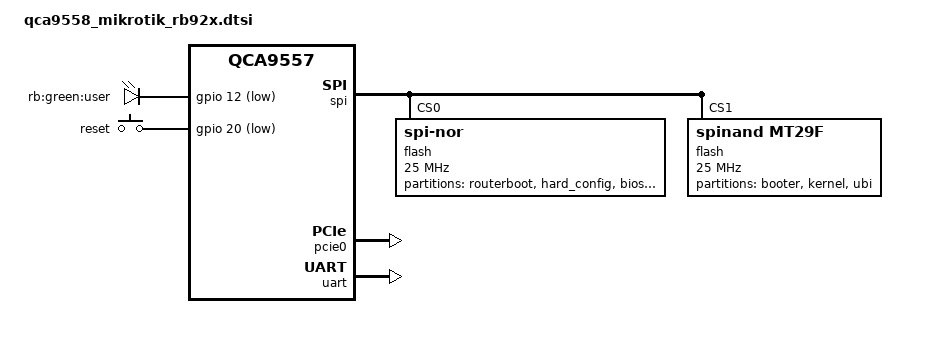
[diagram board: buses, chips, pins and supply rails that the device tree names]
// SPDX-License-Identifier: GPL-2.0-or-later OR MIT














/dts-v1/;

#include <dt-bindings/gpio/gpio.h>
#include <dt-bindings/input/input.h>

#include "qca9557.dtsi"

/ {
	aliases {
		led-boot = &user;
		led-failsafe = &user;
		led-running = &user;
		led-upgrade = &user;
	};

	chosen {
		bootargs = "console=ttyS0,115200n8";
	};

	leds: leds {
		compatible = "gpio-leds";

		user: user {
			label = "rb:green:user";
			gpios = <&gpio 12 GPIO_ACTIVE_LOW>;
			default-state = "off";
		};
	};

	keys: keys {
		compatible = "gpio-keys-polled";
		poll-interval = <20>;

		reset {
			label = "reset";
			gpios = <&gpio 20 GPIO_ACTIVE_LOW>;
			linux,code = <KEY_RESTART>;
			debounce-interval = <60>;
		};
	};
};

&spi {
	status = "okay";
	num-cs = <1>;

	flash@0 {
		compatible = "jedec,spi-nor";
		reg = <0>;
		spi-max-frequency = <25000000>;

		partitions {
			compatible = "fixed-partitions";
			#address-cells = <1>;
			#size-cells = <1>;

			partition@0 {
				label = "routerboot";
				reg = <0x0000 0xc000>;
				read-only;
			};

			partition@1 {
				label = "hard_config";
				reg = <0xc000 0xd000>;
			};

			partition@2 {
				label = "bios";
				reg = <0xd000 0xe000>;
			};

			partition@3 {
				label = "soft_config";
				reg = <0xd000 0xf000>;
			};
		};
	};

	flash@1 {
		compatible = "spinand,mt29f";
		reg = <1>;
		spi-max-frequency = <25000000>;

		partitions {
			compatible = "fixed-partitions";
			#address-cells = <1>;
			#size-cells = <1>;

			partition@0 {
				label = "booter";
				reg = <0x0000000 0x0040000>;
			};

			partition@1 {
				label = "kernel";
				reg = <0x0040000 0x0400000>;
			};

			partition@2 {
				label = "ubi";
				reg = <0x0400000 0x8000000>;
			};
		};
	};
};

&pcie0 {
	status = "okay";
};

&uart {
	status = "okay";
};
